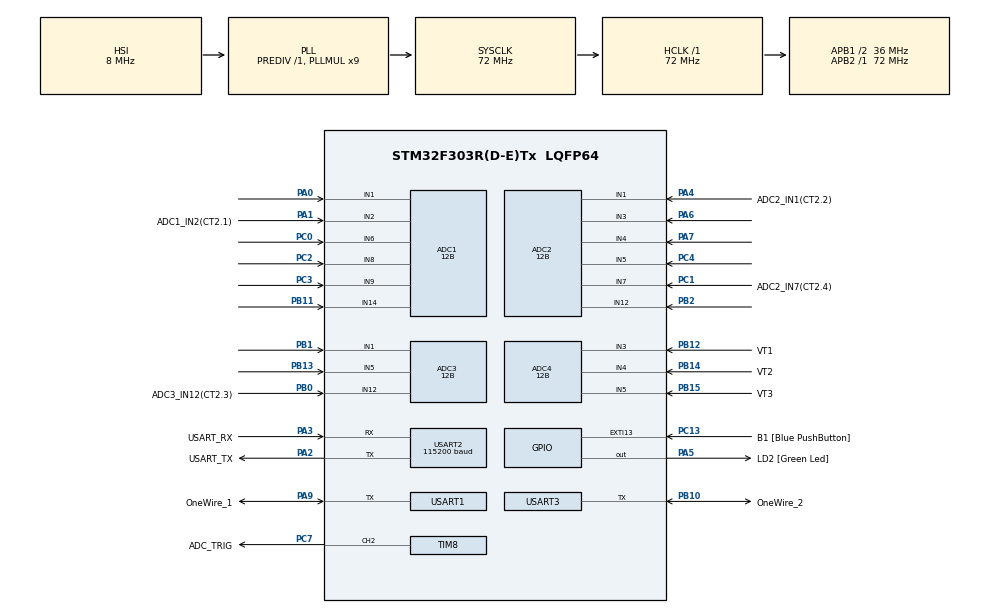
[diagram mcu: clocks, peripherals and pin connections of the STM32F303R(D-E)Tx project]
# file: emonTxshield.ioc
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ADC1.Channel-0\#ChannelRegularConversion=ADC_CHANNEL_1
ADC1.Channel-1\#ChannelRegularConversion=ADC_CHANNEL_2
ADC1.Channel-10\#ChannelRegularConversion=ADC_CHANNEL_9
ADC1.Channel-11\#ChannelRegularConversion=ADC_CHANNEL_14
ADC1.Channel-12\#ChannelRegularConversion=ADC_CHANNEL_TEMPSENSOR
ADC1.Channel-8\#ChannelRegularConversion=ADC_CHANNEL_6
ADC1.Channel-9\#ChannelRegularConversion=ADC_CHANNEL_8
ADC1.ClockPrescaler=ADC_CLOCK_SYNC_PCLK_DIV2
ADC1.ContinuousConvMode=ENABLE
ADC1.DMAContinuousRequests=ENABLE
ADC1.DataAlign=ADC_DATAALIGN_RIGHT
ADC1.DiscontinuousConvMode=DISABLE
ADC1.EOCSelection=ADC_EOC_SEQ_CONV
ADC1.EnableAnalogWatchDog1=false
ADC1.EnableAnalogWatchDog2=false
ADC1.EnableAnalogWatchDog3=false
ADC1.EnableInjectedConversion=DISABLE
ADC1.EnableRegularConversion=ENABLE
ADC1.ExternalTrigConv=ADC_EXTERNALTRIGCONV_T8_TRGO2
ADC1.ExternalTrigConvEdge=ADC_EXTERNALTRIGCONVEDGE_FALLING
ADC1.LowPowerAutoWait=DISABLE
ADC1.NbrOfConversion=7
ADC1.NbrOfConversionFlag=1
ADC1.Offset-0\#ChannelRegularConversion=0
ADC1.Offset-1\#ChannelRegularConversion=0
ADC1.Offset-10\#ChannelRegularConversion=0
ADC1.Offset-11\#ChannelRegularConversion=0
ADC1.Offset-12\#ChannelRegularConversion=0
ADC1.Offset-8\#ChannelRegularConversion=0
ADC1.Offset-9\#ChannelRegularConversion=0
ADC1.OffsetNumber-0\#ChannelRegularConversion=ADC_OFFSET_NONE
ADC1.OffsetNumber-1\#ChannelRegularConversion=ADC_OFFSET_NONE
ADC1.OffsetNumber-10\#ChannelRegularConversion=ADC_OFFSET_NONE
ADC1.OffsetNumber-11\#ChannelRegularConversion=ADC_OFFSET_NONE
ADC1.OffsetNumber-12\#ChannelRegularConversion=ADC_OFFSET_NONE
ADC1.OffsetNumber-8\#ChannelRegularConversion=ADC_OFFSET_NONE
ADC1.OffsetNumber-9\#ChannelRegularConversion=ADC_OFFSET_NONE
ADC1.Overrun=ADC_OVR_DATA_OVERWRITTEN
ADC1.Rank-0\#ChannelRegularConversion=1
ADC1.Rank-1\#ChannelRegularConversion=2
ADC1.Rank-10\#ChannelRegularConversion=5
ADC1.Rank-11\#ChannelRegularConversion=6
ADC1.Rank-12\#ChannelRegularConversion=7
ADC1.Rank-8\#ChannelRegularConversion=3
ADC1.Rank-9\#ChannelRegularConversion=4
ADC1.Resolution=ADC_RESOLUTION_12B
ADC1.SamplingTime-0\#ChannelRegularConversion=ADC_SAMPLETIME_601CYCLES_5
ADC1.SamplingTime-1\#ChannelRegularConversion=ADC_SAMPLETIME_601CYCLES_5
ADC1.SamplingTime-10\#ChannelRegularConversion=ADC_SAMPLETIME_601CYCLES_5
ADC1.SamplingTime-11\#ChannelRegularConversion=ADC_SAMPLETIME_601CYCLES_5
ADC1.SamplingTime-12\#ChannelRegularConversion=ADC_SAMPLETIME_601CYCLES_5
ADC1.SamplingTime-8\#ChannelRegularConversion=ADC_SAMPLETIME_601CYCLES_5
ADC1.SamplingTime-9\#ChannelRegularConversion=ADC_SAMPLETIME_601CYCLES_5
ADC1.ScanConvMode=ADC_SCAN_ENABLE
ADC1.master=1
ADC2.Channel-0\#ChannelRegularConversion=ADC_CHANNEL_3
ADC2.Channel-1\#ChannelRegularConversion=ADC_CHANNEL_1
ADC2.Channel-2\#ChannelRegularConversion=ADC_CHANNEL_4
ADC2.Channel-27\#ChannelRegularConversion=ADC_CHANNEL_1
ADC2.Channel-3\#ChannelRegularConversion=ADC_CHANNEL_5
ADC2.Channel-4\#ChannelRegularConversion=ADC_CHANNEL_7
ADC2.Channel-5\#ChannelRegularConversion=ADC_CHANNEL_12
ADC2.Channel-6\#ChannelRegularConversion=ADC_CHANNEL_12
ADC2.ClockPrescaler=ADC_CLOCK_SYNC_PCLK_DIV2
ADC2.ContinuousConvMode=ENABLE
ADC2.DMAContinuousRequests=ENABLE
ADC2.DataAlign=ADC_DATAALIGN_RIGHT
ADC2.DiscontinuousConvMode=DISABLE
ADC2.EOCSelection=ADC_EOC_SEQ_CONV
ADC2.EnableAnalogWatchDog1=false
ADC2.EnableAnalogWatchDog2=false
ADC2.EnableAnalogWatchDog3=false
ADC2.EnableInjectedConversion=DISABLE
ADC2.EnableRegularConversion=ENABLE
ADC2.ExternalTrigConv=ADC_EXTERNALTRIGCONV_T8_TRGO2
ADC2.ExternalTrigConvEdge=ADC_EXTERNALTRIGCONVEDGE_FALLING
ADC2.LowPowerAutoWait=DISABLE
ADC2.NbrOfConversion=7
ADC2.NbrOfConversionFlag=1
ADC2.Offset-0\#ChannelRegularConversion=0
ADC2.Offset-1\#ChannelRegularConversion=0
ADC2.Offset-2\#ChannelRegularConversion=0
ADC2.Offset-27\#ChannelRegularConversion=0
ADC2.Offset-3\#ChannelRegularConversion=0
ADC2.Offset-4\#ChannelRegularConversion=0
ADC2.Offset-5\#ChannelRegularConversion=0
ADC2.Offset-6\#ChannelRegularConversion=0
ADC2.OffsetNumber-0\#ChannelRegularConversion=ADC_OFFSET_NONE
ADC2.OffsetNumber-1\#ChannelRegularConversion=ADC_OFFSET_NONE
ADC2.OffsetNumber-2\#ChannelRegularConversion=ADC_OFFSET_NONE
ADC2.OffsetNumber-27\#ChannelRegularConversion=ADC_OFFSET_NONE
ADC2.OffsetNumber-3\#ChannelRegularConversion=ADC_OFFSET_NONE
ADC2.OffsetNumber-4\#ChannelRegularConversion=ADC_OFFSET_NONE
ADC2.OffsetNumber-5\#ChannelRegularConversion=ADC_OFFSET_NONE
ADC2.OffsetNumber-6\#ChannelRegularConversion=ADC_OFFSET_NONE
ADC2.Overrun=ADC_OVR_DATA_OVERWRITTEN
ADC2.Rank-0\#ChannelRegularConversion=1
ADC2.Rank-1\#ChannelRegularConversion=2
ADC2.Rank-2\#ChannelRegularConversion=3
ADC2.Rank-27\#ChannelRegularConversion=1
ADC2.Rank-3\#ChannelRegularConversion=4
ADC2.Rank-4\#ChannelRegularConversion=5
ADC2.Rank-5\#ChannelRegularConversion=6
ADC2.Rank-6\#ChannelRegularConversion=7
ADC2.Resolution=ADC_RESOLUTION_12B
ADC2.SamplingTime-0\#ChannelRegularConversion=ADC_SAMPLETIME_601CYCLES_5
ADC2.SamplingTime-1\#ChannelRegularConversion=ADC_SAMPLETIME_601CYCLES_5
ADC2.SamplingTime-2\#ChannelRegularConversion=ADC_SAMPLETIME_601CYCLES_5
ADC2.SamplingTime-27\#ChannelRegularConversion=ADC_SAMPLETIME_1CYCLE_5
ADC2.SamplingTime-3\#ChannelRegularConversion=ADC_SAMPLETIME_601CYCLES_5
ADC2.SamplingTime-4\#ChannelRegularConversion=ADC_SAMPLETIME_601CYCLES_5
ADC2.SamplingTime-5\#ChannelRegularConversion=ADC_SAMPLETIME_601CYCLES_5
ADC2.SamplingTime-6\#ChannelRegularConversion=ADC_SAMPLETIME_601CYCLES_5
ADC2.ScanConvMode=ADC_SCAN_ENABLE
ADC3.Channel-0\#ChannelRegularConversion=ADC_CHANNEL_1
ADC3.Channel-1\#ChannelRegularConversion=ADC_CHANNEL_12
ADC3.Channel-2\#ChannelRegularConversion=ADC_CHANNEL_5
ADC3.Channel-3\#ChannelRegularConversion=ADC_CHANNEL_VREFINT
ADC3.Channel-4\#ChannelRegularConversion=ADC_CHANNEL_VREFINT
ADC3.Channel-5\#ChannelRegularConversion=ADC_CHANNEL_VREFINT
ADC3.Channel-6\#ChannelRegularConversion=ADC_CHANNEL_VREFINT
ADC3.ClockPrescaler=ADC_CLOCK_SYNC_PCLK_DIV2
ADC3.ContinuousConvMode=ENABLE
ADC3.DMAContinuousRequests=ENABLE
ADC3.DataAlign=ADC_DATAALIGN_RIGHT
ADC3.DiscontinuousConvMode=DISABLE
ADC3.EOCSelection=ADC_EOC_SEQ_CONV
ADC3.EnableAnalogWatchDog1=false
ADC3.EnableAnalogWatchDog2=false
ADC3.EnableAnalogWatchDog3=false
ADC3.EnableInjectedConversion=ENABLE
ADC3.EnableRegularConversion=ENABLE
ADC3.ExternalTrigConv=ADC_EXTERNALTRIGCONV_T8_TRGO2
ADC3.ExternalTrigConvEdge=ADC_EXTERNALTRIGCONVEDGE_FALLING
ADC3.InjNumberOfConversion=0
ADC3.LowPowerAutoWait=DISABLE
ADC3.NbrOfConversion=7
ADC3.NbrOfConversionFlag=1
ADC3.Offset-0\#ChannelRegularConversion=0
ADC3.Offset-1\#ChannelRegularConversion=0
ADC3.Offset-2\#ChannelRegularConversion=0
ADC3.Offset-3\#ChannelRegularConversion=0
ADC3.Offset-4\#ChannelRegularConversion=0
ADC3.Offset-5\#ChannelRegularConversion=0
ADC3.Offset-6\#ChannelRegularConversion=0
ADC3.OffsetNumber-0\#ChannelRegularConversion=ADC_OFFSET_NONE
ADC3.OffsetNumber-1\#ChannelRegularConversion=ADC_OFFSET_NONE
ADC3.OffsetNumber-2\#ChannelRegularConversion=ADC_OFFSET_NONE
ADC3.OffsetNumber-3\#ChannelRegularConversion=ADC_OFFSET_NONE
ADC3.OffsetNumber-4\#ChannelRegularConversion=ADC_OFFSET_NONE
ADC3.OffsetNumber-5\#ChannelRegularConversion=ADC_OFFSET_NONE
ADC3.OffsetNumber-6\#ChannelRegularConversion=ADC_OFFSET_NONE
ADC3.Overrun=ADC_OVR_DATA_OVERWRITTEN
ADC3.Rank-0\#ChannelRegularConversion=1
ADC3.Rank-1\#ChannelRegularConversion=2
ADC3.Rank-2\#ChannelRegularConversion=3
ADC3.Rank-3\#ChannelRegularConversion=4
ADC3.Rank-4\#ChannelRegularConversion=5
ADC3.Rank-5\#ChannelRegularConversion=6
ADC3.Rank-6\#ChannelRegularConversion=7
ADC3.Resolution=ADC_RESOLUTION_12B
ADC3.SamplingTime-0\#ChannelRegularConversion=ADC_SAMPLETIME_601CYCLES_5
ADC3.SamplingTime-1\#ChannelRegularConversion=ADC_SAMPLETIME_601CYCLES_5
ADC3.SamplingTime-2\#ChannelRegularConversion=ADC_SAMPLETIME_601CYCLES_5
ADC3.SamplingTime-3\#ChannelRegularConversion=ADC_SAMPLETIME_601CYCLES_5
ADC3.SamplingTime-4\#ChannelRegularConversion=ADC_SAMPLETIME_601CYCLES_5
ADC3.SamplingTime-5\#ChannelRegularConversion=ADC_SAMPLETIME_601CYCLES_5
ADC3.SamplingTime-6\#ChannelRegularConversion=ADC_SAMPLETIME_601CYCLES_5
ADC3.ScanConvMode=ADC_SCAN_ENABLE
ADC3.master=1
ADC4.Channel-32\#ChannelRegularConversion=ADC_CHANNEL_3
ADC4.Channel-33\#ChannelRegularConversion=ADC_CHANNEL_4
ADC4.Channel-34\#ChannelRegularConversion=ADC_CHANNEL_5
ADC4.Channel-35\#ChannelRegularConversion=ADC_CHANNEL_3
ADC4.Channel-36\#ChannelRegularConversion=ADC_CHANNEL_4
ADC4.Channel-37\#ChannelRegularConversion=ADC_CHANNEL_5
ADC4.Channel-38\#ChannelRegularConversion=ADC_CHANNEL_3
ADC4.ClockPrescaler=ADC_CLOCK_SYNC_PCLK_DIV2
ADC4.ContinuousConvMode=ENABLE
ADC4.DMAContinuousRequests=ENABLE
ADC4.DataAlign=ADC_DATAALIGN_RIGHT
ADC4.DiscontinuousConvMode=DISABLE
ADC4.EOCSelection=ADC_EOC_SEQ_CONV
ADC4.EnableAnalogWatchDog1=false
ADC4.EnableAnalogWatchDog2=false
ADC4.EnableAnalogWatchDog3=false
ADC4.EnableInjectedConversion=ENABLE
ADC4.EnableRegularConversion=ENABLE
ADC4.ExternalTrigConv=ADC_EXTERNALTRIGCONV_T8_TRGO2
ADC4.ExternalTrigConvEdge=ADC_EXTERNALTRIGCONVEDGE_RISING
ADC4.InjNumberOfConversion=0
ADC4.LowPowerAutoWait=DISABLE
ADC4.NbrOfConversion=7
ADC4.NbrOfConversionFlag=1
ADC4.Offset-32\#ChannelRegularConversion=0
ADC4.Offset-33\#ChannelRegularConversion=0
ADC4.Offset-34\#ChannelRegularConversion=0
ADC4.Offset-35\#ChannelRegularConversion=0
ADC4.Offset-36\#ChannelRegularConversion=0
ADC4.Offset-37\#ChannelRegularConversion=0
ADC4.Offset-38\#ChannelRegularConversion=0
ADC4.OffsetNumber-32\#ChannelRegularConversion=ADC_OFFSET_NONE
ADC4.OffsetNumber-33\#ChannelRegularConversion=ADC_OFFSET_NONE
ADC4.OffsetNumber-34\#ChannelRegularConversion=ADC_OFFSET_NONE
ADC4.OffsetNumber-35\#ChannelRegularConversion=ADC_OFFSET_NONE
ADC4.OffsetNumber-36\#ChannelRegularConversion=ADC_OFFSET_NONE
ADC4.OffsetNumber-37\#ChannelRegularConversion=ADC_OFFSET_NONE
ADC4.OffsetNumber-38\#ChannelRegularConversion=ADC_OFFSET_NONE
ADC4.Overrun=ADC_OVR_DATA_OVERWRITTEN
ADC4.Rank-32\#ChannelRegularConversion=1
ADC4.Rank-33\#ChannelRegularConversion=2
ADC4.Rank-34\#ChannelRegularConversion=3
ADC4.Rank-35\#ChannelRegularConversion=4
ADC4.Rank-36\#ChannelRegularConversion=5
ADC4.Rank-37\#ChannelRegularConversion=6
ADC4.Rank-38\#ChannelRegularConversion=7
ADC4.Resolution=ADC_RESOLUTION_12B
ADC4.SamplingTime-32\#ChannelRegularConversion=ADC_SAMPLETIME_601CYCLES_5
ADC4.SamplingTime-33\#ChannelRegularConversion=ADC_SAMPLETIME_601CYCLES_5
ADC4.SamplingTime-34\#ChannelRegularConversion=ADC_SAMPLETIME_601CYCLES_5
ADC4.SamplingTime-35\#ChannelRegularConversion=ADC_SAMPLETIME_601CYCLES_5
ADC4.SamplingTime-36\#ChannelRegularConversion=ADC_SAMPLETIME_601CYCLES_5
ADC4.SamplingTime-37\#ChannelRegularConversion=ADC_SAMPLETIME_601CYCLES_5
ADC4.SamplingTime-38\#ChannelRegularConversion=ADC_SAMPLETIME_601CYCLES_5
ADC4.ScanConvMode=ADC_SCAN_ENABLE
Dma.ADC1.0.Direction=DMA_PERIPH_TO_MEMORY
Dma.ADC1.0.Instance=DMA1_Channel1
Dma.ADC1.0.MemDataAlignment=DMA_MDATAALIGN_HALFWORD
Dma.ADC1.0.MemInc=DMA_MINC_ENABLE
Dma.ADC1.0.Mode=DMA_CIRCULAR
Dma.ADC1.0.PeriphDataAlignment=DMA_PDATAALIGN_HALFWORD
Dma.ADC1.0.PeriphInc=DMA_PINC_DISABLE
Dma.ADC1.0.Priority=DMA_PRIORITY_HIGH
Dma.ADC2.6.Direction=DMA_PERIPH_TO_MEMORY
Dma.ADC2.6.Instance=DMA2_Channel1
Dma.ADC2.6.MemDataAlignment=DMA_MDATAALIGN_HALFWORD
Dma.ADC2.6.MemInc=DMA_MINC_ENABLE
Dma.ADC2.6.Mode=DMA_CIRCULAR
Dma.ADC2.6.PeriphDataAlignment=DMA_PDATAALIGN_HALFWORD
Dma.ADC2.6.PeriphInc=DMA_PINC_DISABLE
Dma.ADC2.6.Priority=DMA_PRIORITY_HIGH
Dma.ADC3.5.Direction=DMA_PERIPH_TO_MEMORY
Dma.ADC3.5.Instance=DMA2_Channel5
Dma.ADC3.5.MemDataAlignment=DMA_MDATAALIGN_HALFWORD
Dma.ADC3.5.MemInc=DMA_MINC_ENABLE
Dma.ADC3.5.Mode=DMA_CIRCULAR
Dma.ADC3.5.PeriphDataAlignment=DMA_PDATAALIGN_HALFWORD
Dma.ADC3.5.PeriphInc=DMA_PINC_DISABLE
Dma.ADC3.5.Priority=DMA_PRIORITY_HIGH
Dma.ADC4.7.Direction=DMA_PERIPH_TO_MEMORY
Dma.ADC4.7.Instance=DMA2_Channel2
Dma.ADC4.7.MemDataAlignment=DMA_MDATAALIGN_HALFWORD
Dma.ADC4.7.MemInc=DMA_MINC_ENABLE
Dma.ADC4.7.Mode=DMA_CIRCULAR
Dma.ADC4.7.PeriphDataAlignment=DMA_PDATAALIGN_HALFWORD
Dma.ADC4.7.PeriphInc=DMA_PINC_DISABLE
Dma.ADC4.7.Priority=DMA_PRIORITY_HIGH
Dma.Request0=ADC1
Dma.Request1=USART1_TX
Dma.Request2=USART1_RX
Dma.Request3=USART3_RX
Dma.Request4=USART3_TX
Dma.Request5=ADC3
Dma.Request6=ADC2
Dma.Request7=ADC4
Dma.USART1_RX.2.Direction=DMA_PERIPH_TO_MEMORY
Dma.USART1_RX.2.Instance=DMA1_Channel5
Dma.USART1_RX.2.MemDataAlignment=DMA_MDATAALIGN_BYTE
Dma.USART1_RX.2.MemInc=DMA_MINC_ENABLE
Dma.USART1_RX.2.Mode=DMA_NORMAL
Dma.USART1_RX.2.PeriphDataAlignment=DMA_PDATAALIGN_BYTE
Dma.USART1_RX.2.PeriphInc=DMA_PINC_DISABLE
Dma.USART1_RX.2.Priority=DMA_PRIORITY_LOW
Dma.USART1_TX.1.Direction=DMA_MEMORY_TO_PERIPH
Dma.USART1_TX.1.Instance=DMA1_Channel4
Dma.USART1_TX.1.MemDataAlignment=DMA_MDATAALIGN_BYTE
Dma.USART1_TX.1.MemInc=DMA_MINC_ENABLE
Dma.USART1_TX.1.Mode=DMA_NORMAL
Dma.USART1_TX.1.PeriphDataAlignment=DMA_PDATAALIGN_BYTE
Dma.USART1_TX.1.PeriphInc=DMA_PINC_DISABLE
Dma.USART1_TX.1.Priority=DMA_PRIORITY_LOW
Dma.USART3_RX.3.Direction=DMA_PERIPH_TO_MEMORY
Dma.USART3_RX.3.Instance=DMA1_Channel3
Dma.USART3_RX.3.MemDataAlignment=DMA_MDATAALIGN_BYTE
Dma.USART3_RX.3.MemInc=DMA_MINC_ENABLE
Dma.USART3_RX.3.Mode=DMA_NORMAL
Dma.USART3_RX.3.PeriphDataAlignment=DMA_PDATAALIGN_BYTE
Dma.USART3_RX.3.PeriphInc=DMA_PINC_DISABLE
Dma.USART3_RX.3.Priority=DMA_PRIORITY_LOW
Dma.USART3_TX.4.Direction=DMA_MEMORY_TO_PERIPH
Dma.USART3_TX.4.Instance=DMA1_Channel2
Dma.USART3_TX.4.MemDataAlignment=DMA_MDATAALIGN_BYTE
Dma.USART3_TX.4.MemInc=DMA_MINC_ENABLE
Dma.USART3_TX.4.Mode=DMA_NORMAL
Dma.USART3_TX.4.PeriphDataAlignment=DMA_PDATAALIGN_BYTE
Dma.USART3_TX.4.PeriphInc=DMA_PINC_DISABLE
Dma.USART3_TX.4.Priority=DMA_PRIORITY_LOW
Mcu.Family=STM32F3
Mcu.Name=STM32F303R(D-E)Tx
Mcu.Package=LQFP64
NVIC.DMA1_Channel1_IRQn=true\:1\:0\:true\:false\:true\:false
NVIC.DMA1_Channel2_IRQn=true\:0\:0\:false\:false\:true\:false
NVIC.DMA1_Channel3_IRQn=true\:0\:0\:false\:false\:true\:false
NVIC.DMA1_Channel4_IRQn=true\:0\:0\:false\:false\:true\:false
NVIC.DMA1_Channel5_IRQn=true\:0\:0\:false\:false\:true\:false
NVIC.DMA2_Channel1_IRQn=true\:1\:0\:true\:false\:true\:false
NVIC.DMA2_Channel2_IRQn=true\:1\:0\:true\:false\:true\:false
NVIC.DMA2_Channel5_IRQn=true\:1\:0\:true\:false\:true\:false
NVIC.PriorityGroup=NVIC_PRIORITYGROUP_1
NVIC.USART1_IRQn=true\:0\:0\:false\:false\:true\:true
NVIC.USART3_IRQn=true\:0\:0\:false\:false\:true\:true
PA0.Mode=IN1-Single-Ended
PA0.Signal=ADC1_IN1
PA1.GPIO_Label=ADC1_IN2(CT2.1)
PA1.Mode=IN2-Single-Ended
PA1.Signal=ADC1_IN2
PA13.GPIO_Label=TMS
PA13.Mode=Serial_Wire
PA13.Signal=SYS_JTMS-SWDIO
PA14.GPIO_Label=TCK
PA14.Mode=Serial_Wire
PA14.Signal=SYS_JTCK-SWCLK
PA2.GPIO_Label=USART_TX
PA2.GPIO_Mode=GPIO_MODE_AF_PP
PA2.GPIO_PuPd=GPIO_NOPULL
PA2.GPIO_Speed=GPIO_SPEED_FREQ_LOW
PA2.Mode=Asynchronous
PA2.Signal=USART2_TX
PA3.GPIO_Label=USART_RX
PA3.GPIO_Mode=GPIO_MODE_AF_PP
PA3.GPIO_PuPd=GPIO_NOPULL
PA3.GPIO_Speed=GPIO_SPEED_FREQ_LOW
PA3.Mode=Asynchronous
PA3.Signal=USART2_RX
PA4.GPIO_Label=ADC2_IN1(CT2.2)
PA4.Mode=IN1-Single-Ended
PA4.Signal=ADC2_IN1
PA5.GPIO_Label=LD2 [Green Led]
PA5.GPIO_Mode=GPIO_MODE_OUTPUT_PP
PA5.GPIO_PuPd=GPIO_NOPULL
PA5.GPIO_Speed=GPIO_SPEED_FREQ_LOW
PA5.Signal=GPIO_Output
PA6.Mode=IN3-Single-Ended
PA6.Signal=ADC2_IN3
PA7.Mode=IN4-Single-Ended
PA7.Signal=ADC2_IN4
PA9.GPIO_Label=OneWire_1
PA9.GPIO_PuPd=GPIO_NOPULL
PA9.Mode=Half_duplex(single_wire_mode)
PA9.Signal=USART1_TX
PB0.GPIO_Label=ADC3_IN12(CT2.3)
PB0.Mode=IN12-Single-Ended
PB0.Signal=ADC3_IN12
PB1.Mode=IN1-Single-Ended
PB1.Signal=ADC3_IN1
PB10.GPIO_Label=OneWire_2
PB10.GPIO_PuPd=GPIO_NOPULL
PB10.Mode=Half_duplex(single_wire_mode)
PB10.Signal=USART3_TX
PB11.Mode=IN14-Single-Ended
PB11.Signal=ADC1_IN14
PB12.GPIO_Label=VT1
PB12.Mode=IN3-Single-Ended
PB12.Signal=ADC4_IN3
PB13.Mode=IN5-Single-Ended
PB13.Signal=ADC3_IN5
PB14.GPIO_Label=VT2
PB14.Mode=IN4-Single-Ended
PB14.Signal=ADC4_IN4
PB15.GPIO_Label=VT3
PB15.Mode=IN5-Single-Ended
PB15.Signal=ADC4_IN5
PB2.Mode=IN12-Single-Ended
PB2.Signal=ADC2_IN12
PB3.GPIO_Label=SWO
PB3.Signal=SYS_JTDO-TRACESWO
PC0.Signal=ADCx_IN6
PC1.GPIO_Label=ADC2_IN7(CT2.4)
PC1.Signal=ADCx_IN7
PC13.GPIO_Label=B1 [Blue PushButton]
PC13.GPIO_ModeDefaultEXTI=GPIO_MODE_IT_FALLING
PC13.Signal=GPXTI13
PC14-OSC32_IN.Mode=LSE-External-Oscillator
PC14-OSC32_IN.Signal=RCC_OSC32_IN
PC15-OSC32_OUT.Mode=LSE-External-Oscillator
PC15-OSC32_OUT.Signal=RCC_OSC32_OUT
PC2.Signal=ADCx_IN8
PC3.Signal=ADCx_IN9
PC4.Mode=IN5-Single-Ended
PC4.Signal=ADC2_IN5
PC7.GPIO_Label=ADC_TRIG
PC7.Signal=S_TIM8_CH2
PF0-OSC_IN.Mode=HSE-External-Clock-Source
PF0-OSC_IN.Signal=RCC_OSC_IN
PF1-OSC_OUT.Signal=RCC_OSC_OUT
ProjectManager.HeapSize=0x200
ProjectManager.StackSize=0x400
ProjectManager.TargetToolchain=Makefile
RCC.AHBFreq_Value=72000000
RCC.APB1CLKDivider=RCC_HCLK_DIV2
RCC.APB1Freq_Value=36000000
RCC.APB1TimFreq_Value=72000000
RCC.APB2Freq_Value=72000000
RCC.APB2TimFreq_Value=72000000
RCC.CortexFreq_Value=72000000
RCC.HCLKFreq_Value=72000000
RCC.HSE_VALUE=8000000
RCC.HSI_VALUE=8000000
RCC.PLLM=8
RCC.PLLMUL=RCC_PLL_MUL9
RCC.PLLN=336
RCC.PLLP=RCC_PLLP_DIV4
RCC.PLLQ=7
RCC.RCC_PLLsource_Clock_Source_FROM_HSE=RCC_HSE_PREDIV_DIV2
RCC.SYSCLKFreq_VALUE=72000000
RCC.SYSCLKSourceVirtual=RCC_SYSCLKSOURCE_PLLCLK
RCC.USBFreq_Value=72000000
SH.ADCx_IN6.0=ADC1_IN6,IN6-Single-Ended
SH.ADCx_IN7.0=ADC2_IN7,IN7-Single-Ended
SH.ADCx_IN8.0=ADC1_IN8,IN8-Single-Ended
SH.ADCx_IN9.0=ADC1_IN9,IN9-Single-Ended
SH.S_TIM8_CH2.0=TIM8_CH2,PWM Generation2 CH2
TIM8.Channel-PWM\ Generation2\ CH2=TIM_CHANNEL_2
TIM8.Period=9999
TIM8.Prescaler=71
TIM8.TIM_MasterOutputTrigger2=TIM_TRGO2_OC2REF
USART1.BaudRate=115200
USART1.VirtualMode-Half_duplex(single_wire_mode)=VM_ASYNC
USART1.WordLength=WORDLENGTH_8B
USART2.BaudRate=115200
USART2.VirtualMode-Asynchronous=VM_ASYNC
USART2.WordLength=WORDLENGTH_8B
USART3.BaudRate=115200
USART3.VirtualMode-Half_duplex(single_wire_mode)=VM_ASYNC
USART3.WordLength=WORDLENGTH_8B
VP_ADC1_TempSens_Input.Mode=IN-TempSens
VP_ADC3_Vref_Input.Mode=IN-Vrefint
VP_TIM8_VS_OPM.Mode=OPM_bit
board=NUCLEO-F303RE

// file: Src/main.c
/**
  ******************************************************************************
  * @file           : main.c
  * @brief          : Main program body
  ******************************************************************************
  ** This notice applies to any and all portions of this file
  * that are not between comment pairs USER CODE BEGIN and
  * USER CODE END. Other portions of this file, whether
  * inserted by the user or by software development tools
  * are owned by their respective copyright owners.
  *
  * COPYRIGHT(c) 2018 STMicroelectronics
  *
  * Redistribution and use in source and binary forms, with or without modification,
  * are permitted provided that the following conditions are met:
  *   1. Redistributions of source code must retain the above copyright notice,
  *      this list of conditions and the following disclaimer.
  *   2. Redistributions in binary form must reproduce the above copyright notice,
  *      this list of conditions and the following disclaimer in the documentation
  *      and/or other materials provided with the distribution.
  *   3. Neither the name of STMicroelectronics nor the names of its contributors
  *      may be used to endorse or promote products derived from this software
  *      without specific prior written permission.
  *
  * THIS SOFTWARE IS PROVIDED BY THE COPYRIGHT HOLDERS AND CONTRIBUTORS "AS IS"
  * AND ANY EXPRESS OR IMPLIED WARRANTIES, INCLUDING, BUT NOT LIMITED TO, THE
  * IMPLIED WARRANTIES OF MERCHANTABILITY AND FITNESS FOR A PARTICULAR PURPOSE ARE
  * DISCLAIMED. IN NO EVENT SHALL THE COPYRIGHT HOLDER OR CONTRIBUTORS BE LIABLE
  * FOR ANY DIRECT, INDIRECT, INCIDENTAL, SPECIAL, EXEMPLARY, OR CONSEQUENTIAL
  * DAMAGES (INCLUDING, BUT NOT LIMITED TO, PROCUREMENT OF SUBSTITUTE GOODS OR
  * SERVICES; LOSS OF USE, DATA, OR PROFITS; OR BUSINESS INTERRUPTION) HOWEVER
  * CAUSED AND ON ANY THEORY OF LIABILITY, WHETHER IN CONTRACT, STRICT LIABILITY,
  * OR TORT (INCLUDING NEGLIGENCE OR OTHERWISE) ARISING IN ANY WAY OUT OF THE USE
  * OF THIS SOFTWARE, EVEN IF ADVISED OF THE POSSIBILITY OF SUCH DAMAGE.
  *
  ******************************************************************************
  */
#include "main.h"
#include "stm32f3xx_hal.h"
#include "adc.h"
#include "dma.h"
#include "tim.h"
#include "usart.h"
#include "gpio.h"

/* USER CODE BEGIN Includes */

#include <string.h>
#include <math.h>
#include "power.h"
#include "ds18b20.h"

/* USER CODE END Includes */

/* USER CODE BEGIN PV */
/* Private variables ---------------------------------------------------------*/

char log_buffer[MAX_LOG_BUFFER];
static uint32_t last_readout;

/* USER CODE END PV */

void SystemClock_Config(void);

/* USER CODE BEGIN PFP */
/* Private function prototypes -----------------------------------------------*/

/* USER CODE END PFP */

int main(void)
{

  /* MCU Configuration----------------------------------------------------------*/

  /* Reset of all peripherals, Initializes the Flash interface and the Systick. */
  HAL_Init();

  /* Configure the system clock */
  SystemClock_Config();

  /* Initialize all configured peripherals */
  MX_GPIO_Init();
  MX_DMA_Init();
  MX_USART2_UART_Init();
  MX_ADC1_Init();
  MX_ADC3_Init();
  MX_ADC4_Init();
  MX_TIM8_Init();
  MX_ADC2_Init();
  MX_USART1_UART_Init();
  MX_USART3_UART_Init();
  /* USER CODE BEGIN 2 */

  HAL_GPIO_WritePin(LD2_GPIO_Port, LD2_Pin, GPIO_PIN_SET);      // LED on
  snprintf(log_buffer, sizeof(log_buffer),
	   "\nemonTxshield Demo 1.12\n");
  debug_printf(log_buffer);
  snprintf(log_buffer, sizeof(log_buffer),
	   "Patch PA0 through to PB14 for V!!!\n");
  debug_printf(log_buffer);

  init_ds18b20s();
  calibrate_ADCs();
  init_power();                    // Starts ADCs running

  /* USER CODE END 2 */

  /* Infinite loop */
  /* USER CODE BEGIN WHILE */

  while (1)
  {

    process_power_data();
    process_ds18b20s();

    //
    // Dump out the environmental stats every 10 seconds
    //
    if (HAL_GetTick() - last_readout > 10000) {

      snprintf(log_buffer, sizeof(log_buffer), "CPU temp: %dC, Vdda: %dmV\n",
	       get_cpu_temp(), get_vdd());
      debug_printf(log_buffer);
      last_readout = HAL_GetTick();
    }

  /* USER CODE END WHILE */

  }

}

void SystemClock_Config(void)
{

  RCC_OscInitTypeDef RCC_OscInitStruct;
  RCC_ClkInitTypeDef RCC_ClkInitStruct;
  RCC_PeriphCLKInitTypeDef PeriphClkInit;

    /**Initializes the CPU, AHB and APB busses clocks
    */
  RCC_OscInitStruct.OscillatorType = RCC_OSCILLATORTYPE_HSI;
  RCC_OscInitStruct.HSIState = RCC_HSI_ON;
  RCC_OscInitStruct.HSICalibrationValue = 16;
  RCC_OscInitStruct.PLL.PLLState = RCC_PLL_ON;
  RCC_OscInitStruct.PLL.PLLSource = RCC_PLLSOURCE_HSI;
  RCC_OscInitStruct.PLL.PLLMUL = RCC_PLL_MUL9;
  RCC_OscInitStruct.PLL.PREDIV = RCC_PREDIV_DIV1;
  if (HAL_RCC_OscConfig(&RCC_OscInitStruct) != HAL_OK)
  {
    _Error_Handler(__FILE__, __LINE__);
  }

    /**Initializes the CPU, AHB and APB busses clocks
    */
  RCC_ClkInitStruct.ClockType = RCC_CLOCKTYPE_HCLK|RCC_CLOCKTYPE_SYSCLK
                              |RCC_CLOCKTYPE_PCLK1|RCC_CLOCKTYPE_PCLK2;
  RCC_ClkInitStruct.SYSCLKSource = RCC_SYSCLKSOURCE_PLLCLK;
  RCC_ClkInitStruct.AHBCLKDivider = RCC_SYSCLK_DIV1;
  RCC_ClkInitStruct.APB1CLKDivider = RCC_HCLK_DIV2;
  RCC_ClkInitStruct.APB2CLKDivider = RCC_HCLK_DIV1;

  if (HAL_RCC_ClockConfig(&RCC_ClkInitStruct, FLASH_LATENCY_2) != HAL_OK)
  {
    _Error_Handler(__FILE__, __LINE__);
  }

  PeriphClkInit.PeriphClockSelection = RCC_PERIPHCLK_USART1|RCC_PERIPHCLK_USART2
                              |RCC_PERIPHCLK_USART3|RCC_PERIPHCLK_TIM8;
  PeriphClkInit.Usart1ClockSelection = RCC_USART1CLKSOURCE_PCLK2;
  PeriphClkInit.Usart2ClockSelection = RCC_USART2CLKSOURCE_PCLK1;
  PeriphClkInit.Usart3ClockSelection = RCC_USART3CLKSOURCE_PCLK1;
  PeriphClkInit.Tim8ClockSelection = RCC_TIM8CLK_HCLK;
  if (HAL_RCCEx_PeriphCLKConfig(&PeriphClkInit) != HAL_OK)
  {
    _Error_Handler(__FILE__, __LINE__);
  }

    /**Configure the Systick interrupt time
    */
  HAL_SYSTICK_Config(HAL_RCC_GetHCLKFreq()/1000);

    /**Configure the Systick
    */
  HAL_SYSTICK_CLKSourceConfig(SYSTICK_CLKSOURCE_HCLK);

  /* SysTick_IRQn interrupt configuration */
  HAL_NVIC_SetPriority(SysTick_IRQn, 0, 0);
}

void _Error_Handler(char *file, int line)
{
  while(1)
  {
  }
}

/************************ (C) COPYRIGHT STMicroelectronics *****END OF FILE****/
